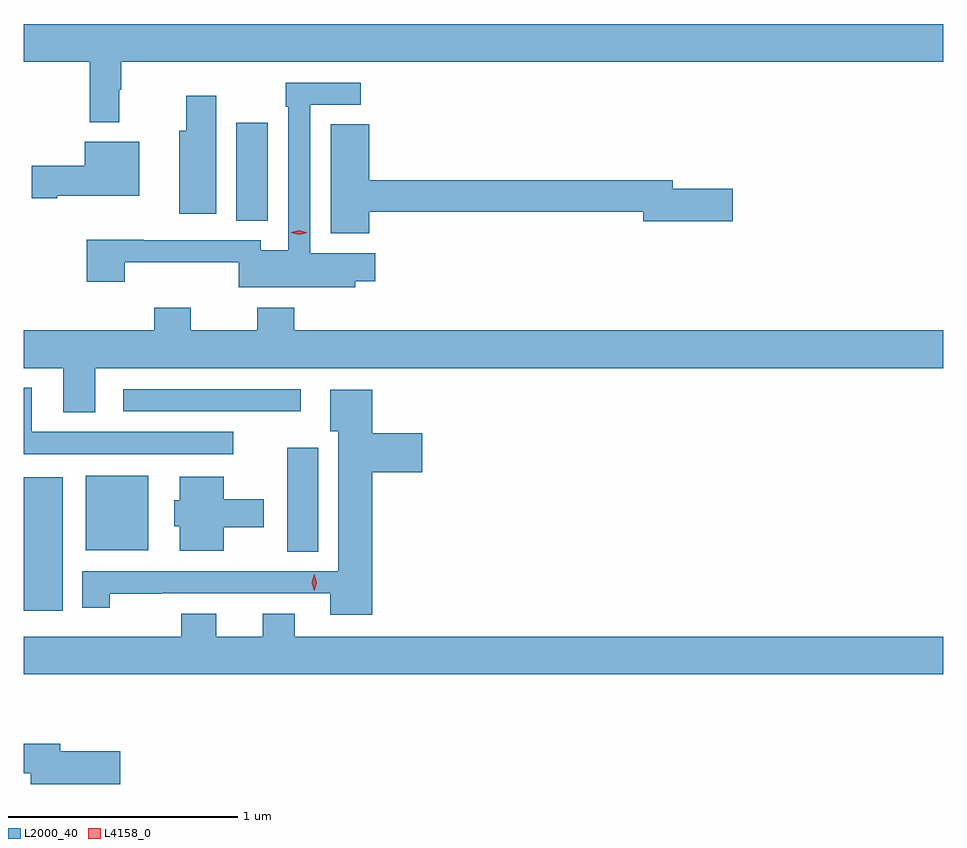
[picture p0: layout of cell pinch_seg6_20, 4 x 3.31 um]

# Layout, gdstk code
import gdstk
lib = gdstk.Library(unit=1e-6, precision=1e-09)
def R(c, l, rs):  # rectangles x0, y0, x1, y1
    for r in rs: c.add(gdstk.rectangle(r[:2], r[2:], *l))
def P(c, l, *ps):  # polygons
    for p in ps: c.add(gdstk.Polygon(p, *l))
L2000_40 = (2000, 40)
L4158_0 = (4158, 0)

pinch_seg6_20 = lib.new_cell('pinch_seg6_20')
R(pinch_seg6_20, L2000_40, [(960.073,962.264,960.244,962.845), (961.22,962.521,961.354,962.974), (960.344,962.528,960.616,962.851), (960.507,963.132,961.279,963.228), (960.998,963.961,961.135,964.387)])
P(pinch_seg6_20, L2000_40, [(960.49,964.529),(960.497,964.529),(960.497,964.652),(964.073,964.652),(964.073,964.816),(960.073,964.816),(960.073,964.652),(960.361,964.652),(960.361,964.389),(960.49,964.389)],
  [(961.515,963.698),(961.603,963.698),(961.603,963.82),(961.32,963.82),(961.32,964.464),(961.54,964.464),(961.54,964.56),(961.212,964.56),(961.212,964.457),(961.224,964.457),(961.224,963.832),(961.104,963.832),(961.104,963.876),(960.595,963.876),(960.595,963.878),(960.347,963.878),(960.347,963.696),(960.512,963.696),(960.512,963.779),(961.008,963.779),(961.008,963.671),(961.515,963.671)],
  [(960.91,964.504),(960.781,964.504),(960.781,964.351),(960.749,964.351),(960.749,963.99),(960.91,963.99)],
  [(961.576,964),(962.768,964),(962.768,963.958),(963.157,963.958),(963.157,964.1),(962.896,964.1),(962.896,964.136),(961.576,964.136),(961.576,964.379),(961.409,964.379),(961.409,963.905),(961.576,963.905)],
  [(960.22,964.07),(960.577,964.07),(960.577,964.303),(960.338,964.303),(960.338,964.2),(960.108,964.2),(960.108,964.058),(960.22,964.058)],
  [(960.385,963.32),(964.073,963.32),(964.073,963.484),(961.25,963.484),(961.25,963.583),(961.09,963.583),(961.09,963.484),(960.801,963.484),(960.801,963.583),(960.641,963.583),(960.641,963.484),(960.073,963.484),(960.073,963.32),(960.245,963.32),(960.245,963.127),(960.385,963.127)],
  [(960.985,963.042),(960.109,963.042),(960.109,963.235),(960.073,963.235),(960.073,962.946),(960.985,962.946)],
  [(961.589,962.867),(961.807,962.867),(961.807,963.037),(961.589,963.037),(961.589,963.226),(961.406,963.226),(961.406,963.044),(961.442,963.044),(961.442,962.436),(960.329,962.436),(960.329,962.277),(960.447,962.277),(960.447,962.339),(960.674,962.339),(960.674,962.34),(961.406,962.34),(961.406,962.246),(961.589,962.246)],
  [(960.943,962.627),(961.117,962.627),(961.117,962.749),(960.943,962.749),(960.943,962.848),(960.752,962.848),(960.752,962.745),(960.728,962.745),(960.728,962.631),(960.752,962.631),(960.752,962.525),(960.943,962.525)],
  [(964.073,962.152),(961.252,962.152),(961.252,962.251),(961.112,962.251),(961.112,962.152),(960.91,962.152),(960.91,962.251),(960.758,962.251),(960.758,962.152),(960.073,962.152),(960.073,961.988),(964.073,961.988)],
  [(960.493,961.653),(960.232,961.653),(960.232,961.687),(960.073,961.687),(960.073,961.558),(960.104,961.558),(960.104,961.511),(960.493,961.511)])
P(pinch_seg6_20, L4158_0, [(961.337,962.351),(961.337,962.351),(961.327,962.387),(961.337,962.423),(961.337,962.423),(961.337,962.423),(961.347,962.387),(961.337,962.351)],
  [(961.272,963.899),(961.237,963.909),(961.237,963.91),(961.237,963.91),(961.272,963.919),(961.307,963.909),(961.307,963.909),(961.307,963.908)])

lib.write_gds('pinch_seg6_20.gds')
